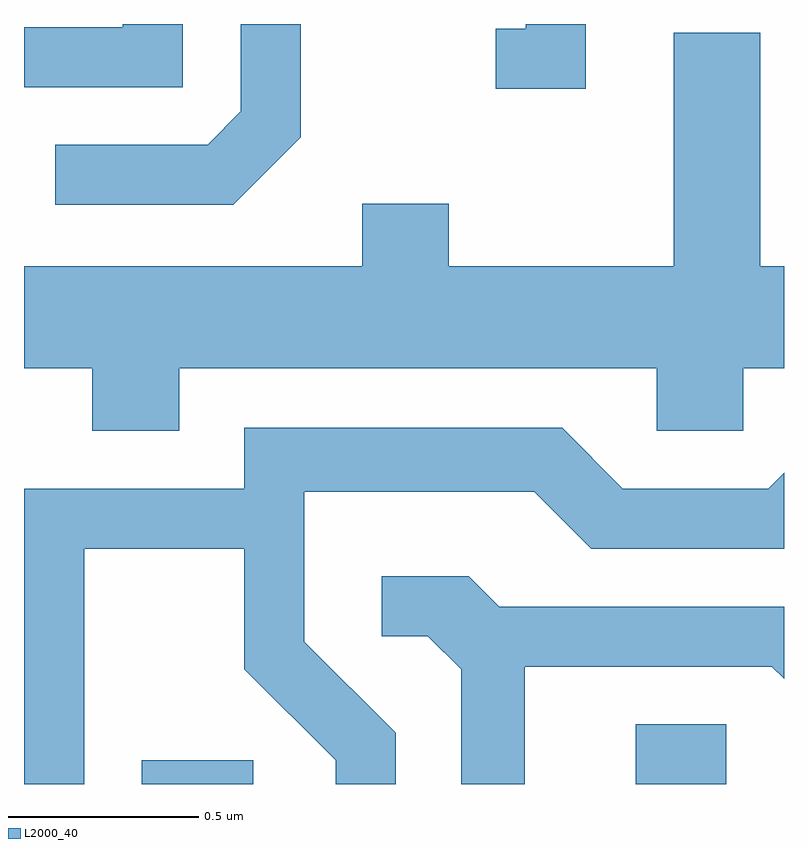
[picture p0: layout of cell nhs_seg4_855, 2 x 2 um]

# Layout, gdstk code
import gdstk
lib = gdstk.Library(unit=1e-6, precision=1e-09)
def R(c, l, rs):  # rectangles x0, y0, x1, y1
    for r in rs: c.add(gdstk.rectangle(r[:2], r[2:], *l))
def P(c, l, *ps):  # polygons
    for p in ps: c.add(gdstk.Polygon(p, *l))
L2000_40 = (2000, 40)

nhs_seg4_855 = lib.new_cell('nhs_seg4_855')
R(nhs_seg4_855, L2000_40, [(191.921,1286.982,192.214,1287.044), (193.221,1286.982,193.459,1287.139)])
P(nhs_seg4_855, L2000_40, [(193.089,1288.982),(192.931,1288.982),(192.931,1288.969),(192.853,1288.969),(192.853,1288.811),(193.089,1288.811)],
  [(192.339,1288.684),(192.339,1288.982),(192.181,1288.982),(192.181,1288.752),(192.094,1288.664),(191.693,1288.664),(191.693,1288.506),(192.162,1288.506)],
  [(192.029,1288.982),(191.871,1288.982),(191.871,1288.974),(191.611,1288.974),(191.611,1288.816),(192.029,1288.816)],
  [(192.019,1288.076),(193.276,1288.076),(193.276,1287.911),(193.504,1287.911),(193.504,1288.076),(193.611,1288.076),(193.611,1288.344),(193.549,1288.344),(193.549,1288.959),(193.321,1288.959),(193.321,1288.344),(192.729,1288.344),(192.729,1288.509),(192.501,1288.509),(192.501,1288.344),(191.611,1288.344),(191.611,1288.076),(191.791,1288.076),(191.791,1287.911),(192.019,1287.911)],
  [(191.769,1287.601),(192.191,1287.601),(192.191,1287.284),(192.431,1287.044),(192.431,1286.982),(192.589,1286.982),(192.589,1287.117),(192.349,1287.357),(192.349,1287.751),(192.954,1287.751),(193.104,1287.601),(193.611,1287.601),(193.611,1287.801),(193.569,1287.759),(193.187,1287.759),(193.027,1287.919),(192.191,1287.919),(192.191,1287.759),(191.611,1287.759),(191.611,1286.982),(191.769,1286.982)],
  [(192.929,1287.291),(193.579,1287.291),(193.611,1287.259),(193.611,1287.449),(192.862,1287.449),(192.782,1287.529),(192.553,1287.529),(192.553,1287.371),(192.674,1287.371),(192.761,1287.284),(192.761,1286.982),(192.929,1286.982)])

lib.write_gds('nhs_seg4_855.gds')
